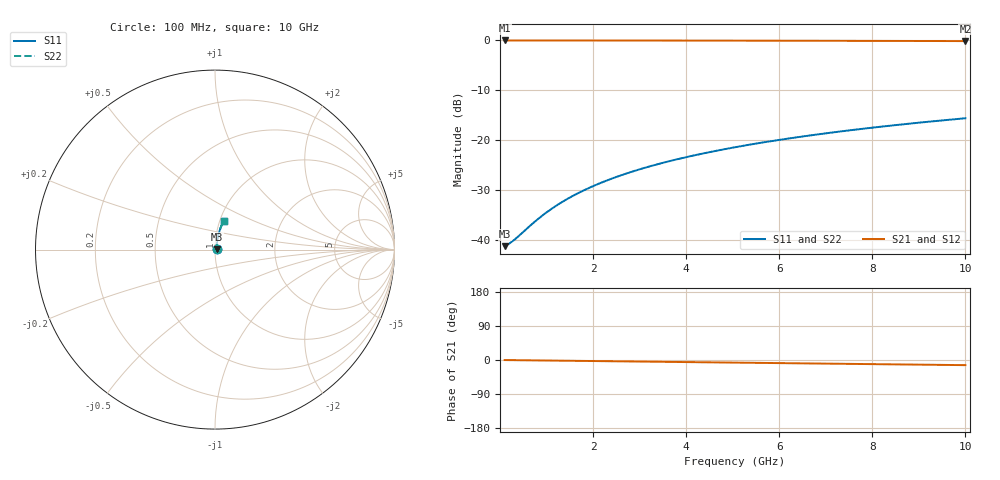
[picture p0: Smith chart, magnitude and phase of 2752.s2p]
# Hz S RI R 50.00
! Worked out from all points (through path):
!   100 points, 100 MHz to 10 GHz, reference 50 ohm
!   highest |S21| = -0.07 dB at 100 MHz (marker M1); lowest = -0.2 dB at 10 GHz (marker M2)
!   group delay of S21, straight-line fit = 3.77 ps
!   lowest |S11| = -41.2 dB at 100 MHz (marker M3), VSWR 1.02, Z = 50.9 + j0.169 ohm
!   |S11| at or under -10 dB: start of sweep to end of sweep
!   |S22| runs from -41.2 to -15.6 dB; largest |S21 - S12| = 0
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1e8  0.0086 0.00166  0.9914 -0.00237  0.9914 -0.00237  0.0086 0.00166
2e8  0.00867 0.00332  0.9913 -0.00473  0.9913 -0.00473  0.00867 0.00332
3e8  0.00873 0.00499  0.9913 -0.0071  0.9913 -0.0071  0.00873 0.00499
8e8  0.00907 0.0133  0.9909 -0.0189  0.9909 -0.0189  0.00907 0.0133
9e8  0.00916 0.0149  0.9908 -0.0213  0.9908 -0.0213  0.00916 0.0149
1.1e9  0.00935 0.0183  0.9906 -0.026  0.9906 -0.026  0.00935 0.0183
1.4e9  0.00969 0.0232  0.9902 -0.0331  0.9902 -0.0331  0.00969 0.0232
1.6e9  0.00996 0.0265  0.99 -0.0378  0.99 -0.0378  0.00996 0.0265
1.8e9  0.0103 0.0299  0.9897 -0.0425  0.9897 -0.0425  0.0103 0.0299
2.1e9  0.0107 0.0348  0.9891 -0.0496  0.9891 -0.0496  0.0107 0.0348
2.5e9  0.0115 0.0414  0.9883 -0.059  0.9883 -0.059  0.0115 0.0414
2.9e9  0.0124 0.048  0.9874 -0.0684  0.9874 -0.0684  0.0124 0.048
3.4e9  0.0137 0.0562  0.986 -0.0801  0.986 -0.0801  0.0137 0.0562
3.8e9  0.0149 0.0627  0.9848 -0.0895  0.9848 -0.0895  0.0149 0.0627
4.2e9  0.0161 0.0692  0.9834 -0.0988  0.9834 -0.0988  0.0161 0.0692
4.6e9  0.0175 0.0756  0.9819 -0.1081  0.9819 -0.1081  0.0175 0.0756
5.1e9  0.0195 0.0837  0.9798 -0.1197  0.9798 -0.1197  0.0195 0.0837
5.9e9  0.023 0.0964  0.9761 -0.138  0.9761 -0.138  0.023 0.0964
6.7e9  0.0269 0.109  0.9719 -0.1563  0.9719 -0.1563  0.0269 0.109
7.5e9  0.0313 0.1214  0.9672 -0.1743  0.9672 -0.1743  0.0313 0.1214
8.4e9  0.0368 0.135  0.9614 -0.1944  0.9614 -0.1944  0.0368 0.135
1e10  0.0479 0.1586  0.9495 -0.2294  0.9495 -0.2294  0.0479 0.1586
